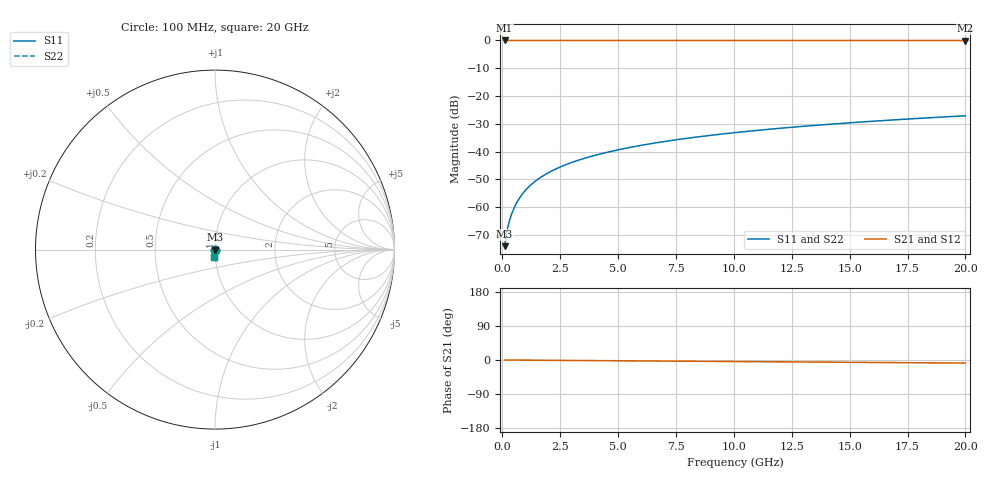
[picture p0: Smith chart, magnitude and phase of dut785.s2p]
! Touchstone file exported from HFSS 2026.1.0
!  File:  C:/ffzhzh/LocalFiles/Ansys_Project_Files/temp_train_TSV_785_1783183766_18472.aedt
!  Generated:  12:50:47 AM Jul  5, 2026
!  Design:  TSV
!  Project:  temp_train_TSV_785_1783183766_18472
! Variables:
!  h_bsmrdl = 2um
!  h_ox = 20um
!  h_rdl = 5um
!  h_sub = 79.79um
!  h_tmrdl = 5um
!  h_tsv = 79.79um
!  h_via = 3um
!  l_bsmrdl = 300um
!  l_sub = 425.28um
!  l_tmrdl = 200um
!  m_sub = 200um
!  pitch = 38.2um
!  r_tsv = 12.64um
!  s_tmrdl = 10um
!  w_bsmrdl = 18um
!  w_sub = 500um
!  w_tmrdl = 12um
!  x_tsv_center1 = 206um
!  x_tsv_center2 = 524um
!  x_tsv_center3 = 736um
!  x_tsv_center4 = 1054um
!  x_tsv_center5 = 1266um
!  x_tsv_center6 = 1584um
# GHz S MA R 50.000000
! Terminal data exported
! Port[1] = TSV1_1_T1
! Port[2] = TSV1_1_T2
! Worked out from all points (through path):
!   200 points, 100 MHz to 20 GHz, reference 50 ohm
!   highest |S21| = 0.00 dB at 100 MHz (marker M1); lowest = 0.0 dB at 20 GHz (marker M2)
!   group delay of S21, straight-line fit = 1.12 ps
!   lowest |S11| = -74.0 dB at 100 MHz (marker M3), VSWR 1.00, Z = 50 - j0.0175 ohm
!   |S11| at or under -10 dB: start of sweep to end of sweep
!   |S22| runs from -74.0 to -27.1 dB; largest |S21 - S12| = 3e-15
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0.1  0.0001994 -61.4  0.9999 -0.0  0.9999 -0.0  0.0001994 -61.4
! Gamma 0 0 0 0
! Port Impedance 50 0 50 0
0.2  0.0003708 -72.7  0.9999 -0.1  0.9999 -0.1  0.0003708 -72.7
0.3  0.0005557 -76.3  0.9999 -0.1  0.9999 -0.1  0.0005557 -76.3
0.4  0.0007499 -78.0  0.9998 -0.2  0.9998 -0.2  0.0007499 -78.0
0.5  0.0009516 -79.0  0.9998 -0.2  0.9998 -0.2  0.0009516 -79.0
0.7  0.001371 -80.5  0.9998 -0.3  0.9998 -0.3  0.001371 -80.5
0.8  0.001585 -81.1  0.9997 -0.3  0.9997 -0.3  0.001585 -81.1
1  0.002018 -82.2  0.9997 -0.4  0.9997 -0.4  0.002018 -82.2
1.2  0.002455 -83.1  0.9997 -0.5  0.9997 -0.5  0.002455 -83.1
1.4  0.002892 -83.8  0.9997 -0.6  0.9997 -0.6  0.002892 -83.8
1.7  0.003547 -84.8  0.9996 -0.7  0.9996 -0.7  0.003547 -84.8
2  0.004202 -85.5  0.9996 -0.8  0.9996 -0.8  0.004202 -85.5
2.7  0.00573 -86.7  0.9995 -1.1  0.9995 -1.1  0.00573 -86.7
3.5  0.007481 -87.6  0.9995 -1.4  0.9995 -1.4  0.007481 -87.6
4.2  0.009018 -88.3  0.9994 -1.7  0.9994 -1.7  0.009018 -88.3
5  0.01078 -88.9  0.9993 -2.0  0.9993 -2.0  0.01078 -88.9
6.8  0.01477 -90.0  0.9992 -2.8  0.9992 -2.8  0.01477 -90.0
8.3  0.0181 -90.9  0.9991 -3.4  0.9991 -3.4  0.0181 -90.9
10.1  0.02211 -91.9  0.9989 -4.1  0.9989 -4.1  0.02211 -91.9
13.4  0.02946 -93.5  0.9986 -5.4  0.9986 -5.4  0.02946 -93.5
16.7  0.03682 -95.1  0.9982 -6.8  0.9982 -6.8  0.03681 -95.1
20  0.04417 -96.5  0.9978 -8.1  0.9978 -8.1  0.04417 -96.5
